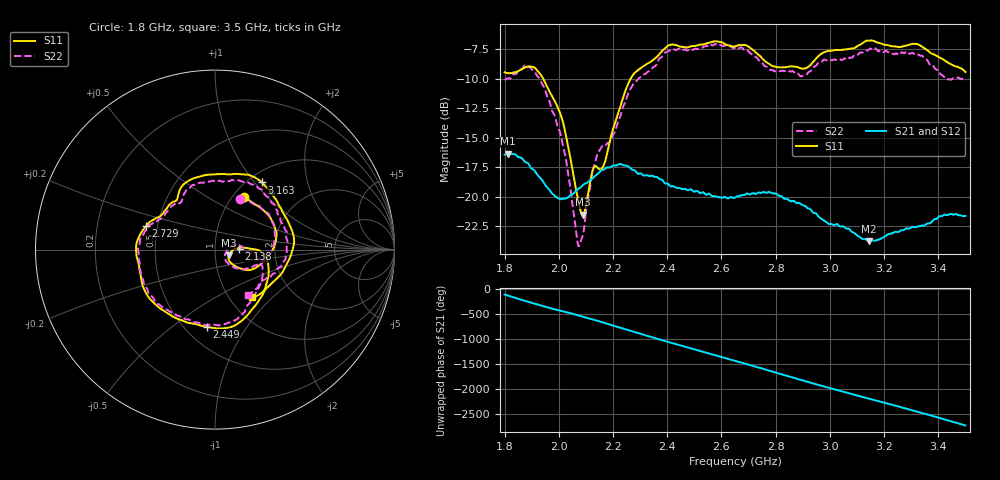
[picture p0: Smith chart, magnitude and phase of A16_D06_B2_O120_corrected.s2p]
! Created with skrf 1.9.0 (http://scikit-rf.org).
# Hz S RI R 50.0
!freq ReS11 ImS11 ReS21 ImS21 ReS12 ImS12 ReS22 ImS22
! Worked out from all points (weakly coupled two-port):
!   1601 points, 1.8 GHz to 3.5 GHz, reference 50 ohm
!   highest |S21| = -16.35 dB at 1.812 GHz (marker M1); lowest = -23.7 dB at 3.143 GHz (marker M2)
!   lowest |S11| = -21.5 dB at 2.088 GHz (marker M3), VSWR 1.18, Z = 58.3 - j3.81 ohm
!   |S11| at or under -10 dB: 1.943 GHz to 2.265 GHz (322.5 MHz wide, 15.3 % of centre)
!   |S22| runs from -24.2 to -7.0 dB; largest |S21 - S12| = 0.0025
!   S11 on the Smith chart (normalised r, x): 1.8 GHz: 1.12, +0.75; 2.138 GHz: 1.31, +0.01; 2.449 GHz: 0.64, -0.67; 2.729 GHz: 0.43, +0.13; 3.163 GHz: 1.16, +1.09; 3.5 GHz: 1.27, -0.76
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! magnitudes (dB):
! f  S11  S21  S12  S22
! 1.8 GHz  -9.5  -16.4  -16.4  -10.0
! 1.812 GHz  -9.5  -16.4  -16.4  -10.0
! 1.88 GHz  -9.0  -17.1  -17.1  -9.0
! 1.942 GHz  -10.0  -18.7  -18.7  -10.6
! 2.013 GHz  -13.4  -20.2  -20.2  -15.4
! 2.068 GHz  -19.9  -19.4  -19.4  -23.7
! 2.084 GHz  -21.4  -19.1  -19.1  -23.6
! 2.088 GHz  -21.5  -19.0  -19.1  -23.3
! 2.138 GHz  -17.4  -18.2  -18.2  -16.7
! 2.167 GHz  -17.3  -17.7  -17.7  -15.7
! 2.266 GHz  -9.9  -17.6  -17.6  -10.8
! 2.367 GHz  -8.0  -18.4  -18.4  -8.4
! 2.449 GHz  -7.3  -19.3  -19.3  -7.5
! 2.65 GHz  -7.3  -20.1  -20.0  -7.4
! 2.729 GHz  -7.8  -19.7  -19.8  -8.2
! 2.802 GHz  -9.0  -19.7  -19.8  -9.3
! 2.934 GHz  -8.7  -21.2  -21.2  -9.2
! 3.143 GHz  -6.8  -23.7  -23.6  -7.5
! 3.163 GHz  -6.8  -23.7  -23.7  -7.5
! 3.217 GHz  -7.2  -23.2  -23.1  -7.8
! 3.325 GHz  -7.1  -22.5  -22.5  -8.0
! 3.5 GHz  -9.4  -21.6  -21.6  -10.1
